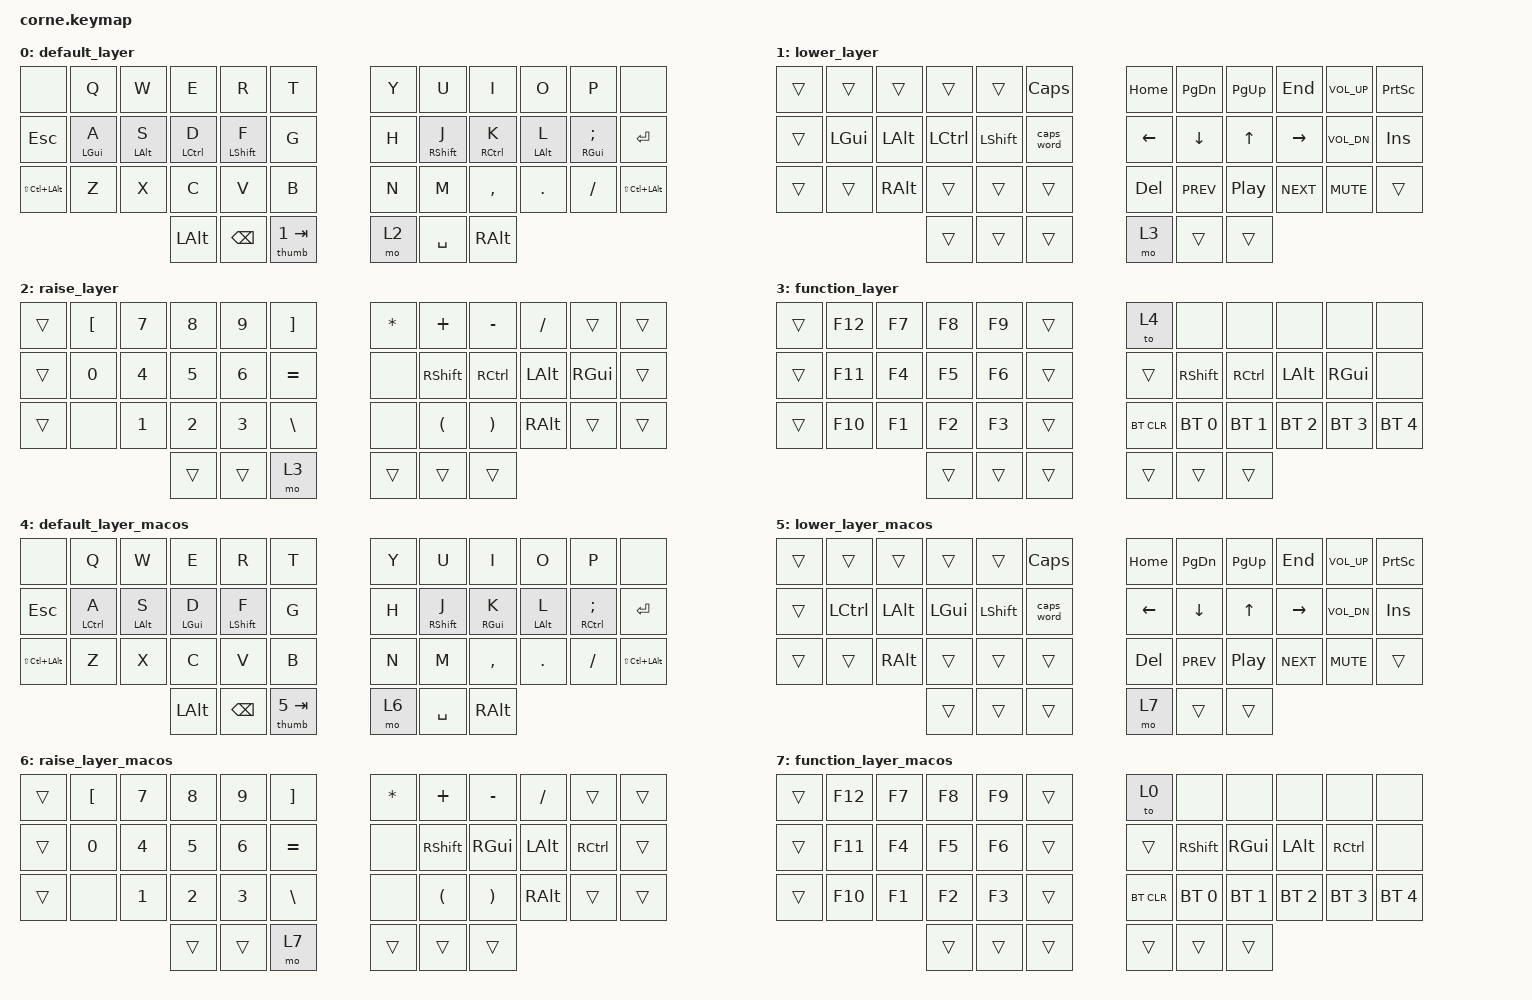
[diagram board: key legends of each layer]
/*
 * Copyright (c) 2020 The ZMK Contributors
 *
 * SPDX-License-Identifier: MIT
 */

//
// HOMEY_STREAK_DECAY defines how long you need to wait (milliseconds)
// after typing before you can use home row mods again.  It prevents
// unintended activation of home row mods when you're actively typing.
//
#define HOMEY_STREAK_DECAY 100

//
// HOMEY_REPEAT_DECAY defines how much time you have left (milliseconds)
// after tapping a key to hold it again in order to make it auto-repeat.
//
#define HOMEY_REPEAT_DECAY 200

//
// SHIFT_REPEAT_DECAY defines how much time you have left (milliseconds)
// after tapping a key to hold it again in order to make it auto-repeat.
//
#define SHIFT_REPEAT_DECAY 200 // "tap then hold" for key auto-repeat

//
// THUMB_HOLDING_TIME defines how long you need to hold (milliseconds)
// a thumb key to activate a layer.  Shorter holds are treated as taps.
//
#define THUMB_HOLDING_TIME 180

#include <behaviors.dtsi>
#include <dt-bindings/zmk/keys.h>
#include <dt-bindings/zmk/bt.h>

/ {

        #include "sunaku_hrm.dtsi"
        keymap {
                compatible = "zmk,keymap";

                default_layer {
                        bindings = <
   &none            &kp Q        &kp W        &kp E         &kp R         &kp T          &kp Y &kp U         &kp I          &kp O          &kp P           &none
   &kp ESC          &hmrl LGUI A &hmrl LALT S &hmrl LCTRL D &hmsl LSHFT F &kp G          &kp H &hmsr RSHFT J &hmrr RCTRL K  &hmrr LALT L   &hmrr RGUI SEMI &kp RET
   &kp LS(LC(LALT)) &kp Z        &kp X        &kp C         &kp V         &kp B          &kp N &kp M         &kp COMMA      &kp DOT        &kp FSLH        &kp LS(LC(LALT))
                                               &kp LALT  &kp BSPC  &thumb 1 TAB   &mo 2 &kp SPACE &kp RALT
                        >;
                };
                lower_layer {
                        bindings = <
   &trans &trans   &trans   &trans    &trans    &kp CAPS     &kp HOME &kp PG_DN  &kp PG_UP &kp END    &kp C_VOL_UP &kp PSCRN
   &trans &kp LGUI &kp LALT &kp LCTRL &kp LSHFT &caps_word   &kp LEFT &kp DOWN   &kp UP    &kp RIGHT  &kp C_VOL_DN &kp INS
   &trans &trans   &kp RALT &trans    &trans    &trans       &kp DEL  &kp C_PREV &kp C_PP  &kp C_NEXT &kp C_MUTE   &trans
                        &trans     &trans       &trans       &mo 3  &trans   &trans
                        >;
                };
                raise_layer {
                        bindings = <
   &trans &kp LBKT  &kp N7 &kp N8 &kp N9   &kp RBKT   &kp STAR &kp PLUS  &kp MINUS &kp FSLH &trans &trans
   &trans &kp N0    &kp N4 &kp N5 &kp N6   &kp EQUAL  &none    &kp RSHFT &kp RCTRL &kp LALT &kp RGUI &trans
   &trans &none     &kp N1 &kp N2 &kp N3   &kp BSLH   &none    &kp LPAR  &kp RPAR  &kp RALT &trans &trans
                             &trans &trans &mo 3      &trans  &trans    &trans
                        >;
                };
                function_layer {
                        bindings = <
   &trans &kp F12 &kp F7 &kp F8 &kp F9 &trans   &to 4      &none        &none        &none        &none        &none
   &trans &kp F11 &kp F4 &kp F5 &kp F6 &trans   &trans     &kp RSHFT    &kp RCTRL    &kp LALT     &kp RGUI     &none
   &trans &kp F10 &kp F1 &kp F2 &kp F3 &trans   &bt BT_CLR &bt BT_SEL 0 &bt BT_SEL 1 &bt BT_SEL 2 &bt BT_SEL 3 &bt BT_SEL 4
                        &trans &trans  &trans   &trans   &trans    &trans
                        >;
                };

                default_layer_macos {
                        bindings = <
   &none            &kp Q         &kp W        &kp E        &kp R         &kp T          &kp Y &kp U         &kp I         &kp O          &kp P            &none
   &kp ESC          &hmrl LCTRL A &hmrl LALT S &hmrl LGUI D &hmsl LSHFT F &kp G          &kp H &hmsr RSHFT J &hmrr RGUI K  &hmrr LALT L   &hmrr RCTRL SEMI &kp RET
   &kp LS(LC(LALT)) &kp Z         &kp X        &kp C        &kp V         &kp B          &kp N &kp M         &kp COMMA     &kp DOT        &kp FSLH         &kp LS(LC(LALT))
                                               &kp LALT  &kp BSPC  &thumb 5 TAB   &mo 6 &kp SPACE &kp RALT
                        >;
                };
                lower_layer_macos {
                        bindings = <
   &trans &trans    &trans   &trans    &trans    &kp CAPS     &kp HOME &kp PG_DN  &kp PG_UP &kp END    &kp C_VOL_UP &kp PSCRN
   &trans &kp LCTRL &kp LALT &kp LGUI  &kp LSHFT &caps_word   &kp LEFT &kp DOWN   &kp UP    &kp RIGHT  &kp C_VOL_DN &kp INS
   &trans &trans    &kp RALT &trans    &trans    &trans       &kp DEL  &kp C_PREV &kp C_PP  &kp C_NEXT &kp C_MUTE   &trans
                        &trans     &trans       &trans       &mo 7  &trans   &trans
                        >;
                };
                raise_layer_macos {
                        bindings = <
   &trans &kp LBKT  &kp N7 &kp N8 &kp N9   &kp RBKT   &kp STAR &kp PLUS  &kp MINUS &kp FSLH &trans    &trans
   &trans &kp N0    &kp N4 &kp N5 &kp N6   &kp EQUAL  &none    &kp RSHFT &kp RGUI  &kp LALT &kp RCTRL &trans
   &trans &none     &kp N1 &kp N2 &kp N3   &kp BSLH   &none    &kp LPAR  &kp RPAR  &kp RALT &trans    &trans
                             &trans &trans &mo 7      &trans  &trans    &trans
                        >;
                };
                function_layer_macos {
                        bindings = <
   &trans &kp F12 &kp F7 &kp F8 &kp F9 &trans   &to 0      &none        &none        &none        &none        &none
   &trans &kp F11 &kp F4 &kp F5 &kp F6 &trans   &trans     &kp RSHFT    &kp RGUI     &kp LALT     &kp RCTRL    &none
   &trans &kp F10 &kp F1 &kp F2 &kp F3 &trans   &bt BT_CLR &bt BT_SEL 0 &bt BT_SEL 1 &bt BT_SEL 2 &bt BT_SEL 3 &bt BT_SEL 4
                        &trans &trans  &trans   &trans   &trans    &trans
                        >;
                };

        };
};
